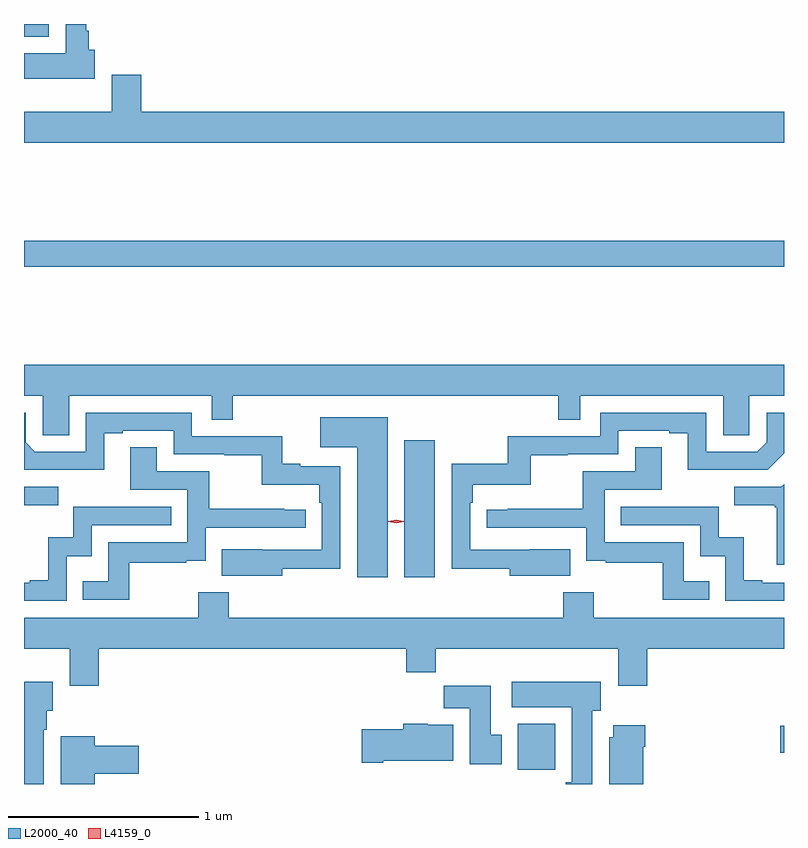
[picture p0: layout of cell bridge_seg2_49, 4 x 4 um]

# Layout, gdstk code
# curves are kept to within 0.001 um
import gdstk
lib = gdstk.Library(unit=1e-6, precision=1e-09)
def R(c, l, rs):  # rectangles x0, y0, x1, y1
    for r in rs: c.add(gdstk.rectangle(r[:2], r[2:], *l))
def P(c, l, *ps):  # polygons
    for p in ps: c.add(gdstk.Polygon(p, *l))
L2000_40 = (2000, 40)
L4159_0 = (4159, 0)

bridge_seg2_49 = lib.new_cell('bridge_seg2_49')
R(bridge_seg2_49, L2000_40, [(976.253,621.692,976.45,621.934), (977.634,621.782,977.654,621.924), (975.656,622.704,975.817,623.425), (973.654,623.084,973.834,623.181), (973.654,624.34,977.654,624.476), (973.654,625.55,973.785,625.617), (974.069,625.616,974.248,625.617)])
P(bridge_seg2_49, L2000_40, [(974.026,625.482),(973.996,625.482),(973.996,625.582),(973.981,625.582),(973.981,625.617),(973.874,625.617),(973.874,625.462),(973.654,625.462),(973.654,625.328),(974.026,625.328)],
  [(977.654,625.156),(974.27,625.156),(974.27,625.351),(974.117,625.351),(974.117,625.156),(973.654,625.156),(973.654,624.992),(977.654,624.992)],
  [(973.891,623.66),(974.643,623.66),(974.643,623.533),(974.752,623.533),(974.752,623.66),(976.465,623.66),(976.465,623.533),(976.581,623.533),(976.581,623.66),(977.333,623.66),(977.333,623.452),(977.472,623.452),(977.472,623.66),(977.654,623.66),(977.654,623.824),(973.654,623.824),(973.654,623.66),(973.752,623.66),(973.752,623.452),(973.891,623.452)],
  [(975.013,622.75),(975.318,622.75),(975.318,623.289),(975.109,623.289),(975.109,623.302),(975.014,623.302),(975.014,623.448),(974.538,623.448),(974.538,623.571),(973.98,623.571),(973.98,623.367),(973.71,623.367),(973.662,623.415),(973.662,623.571),(973.654,623.571),(973.654,623.273),(973.656,623.271),(974.077,623.27),(974.077,623.463),(974.173,623.463),(974.173,623.475),(974.442,623.475),(974.442,623.352),(974.707,623.352),(974.707,623.347),(974.904,623.347),(974.904,623.192),(975.209,623.192),(975.209,623.096),(975.222,623.096),(975.222,622.851),(974.695,622.852),(974.695,622.712),(975.013,622.712)],
  [(976.529,622.852),(976.002,622.851),(976.002,623.096),(976.016,623.096),(976.016,623.192),(976.321,623.192),(976.321,623.347),(976.517,623.347),(976.517,623.352),(976.782,623.352),(976.782,623.475),(977.051,623.475),(977.051,623.463),(977.147,623.463),(977.147,623.27),(977.568,623.271),(977.654,623.357),(977.654,623.571),(977.562,623.571),(977.562,623.415),(977.514,623.367),(977.244,623.367),(977.244,623.571),(976.686,623.571),(976.686,623.448),(976.2,623.448),(976.2,623.302),(975.906,623.302),(975.906,622.75),(976.211,622.75),(976.211,622.712),(976.529,622.712)],
  [(975.568,623.548),(975.213,623.548),(975.213,623.39),(975.407,623.39),(975.407,622.704),(975.568,622.704)],
  [(977.261,622.684),(977.127,622.684),(977.127,622.89),(976.71,622.89),(976.71,623.166),(977.011,623.166),(977.011,623.39),(976.871,623.39),(976.871,623.262),(976.594,623.262),(976.594,623.066),(976.201,623.066),(976.201,623.061),(976.089,623.061),(976.089,622.965),(976.614,622.965),(976.614,622.793),(976.717,622.793),(976.717,622.782),(977.016,622.782),(977.016,622.587),(977.261,622.587)],
  [(974.209,622.782),(974.507,622.782),(974.507,622.793),(974.61,622.793),(974.61,622.965),(975.136,622.965),(975.136,623.061),(975.023,623.061),(975.023,623.066),(974.63,623.066),(974.63,623.262),(974.353,623.262),(974.353,623.39),(974.213,623.39),(974.213,623.166),(974.514,623.166),(974.514,622.89),(974.098,622.89),(974.098,622.684),(973.963,622.684),(973.963,622.587),(974.209,622.587)],
  [(977.654,623.195),(977.64,623.181),(977.391,623.181),(977.391,623.084),(977.604,623.084),(977.604,623.073),(977.615,623.073),(977.615,622.77),(977.654,622.77)],
  [(977.654,622.677),(977.539,622.677),(977.539,622.69),(977.443,622.69),(977.443,622.915),(977.31,622.915),(977.31,623.076),(976.795,623.076),(976.795,622.98),(977.214,622.98),(977.214,622.817),(977.346,622.817),(977.346,622.581),(977.654,622.581)],
  [(973.878,622.817),(974.01,622.817),(974.01,622.98),(974.429,622.98),(974.429,623.076),(973.914,623.076),(973.914,622.915),(973.781,622.915),(973.781,622.69),(973.685,622.69),(973.685,622.677),(973.654,622.677),(973.654,622.581),(973.878,622.581)],
  [(974.048,622.328),(975.665,622.328),(975.665,622.204),(975.821,622.204),(975.821,622.328),(976.781,622.328),(976.781,622.134),(976.934,622.134),(976.934,622.328),(977.654,622.328),(977.654,622.492),(976.653,622.492),(976.653,622.627),(976.493,622.627),(976.493,622.492),(974.732,622.492),(974.732,622.627),(974.572,622.627),(974.572,622.492),(973.654,622.492),(973.654,622.328),(973.895,622.328),(973.895,622.134),(974.048,622.134)],
  [(973.759,621.902),(973.774,621.902),(973.774,622.002),(973.804,622.002),(973.804,622.156),(973.654,622.156),(973.654,621.617),(973.759,621.617)],
  [(976.645,622.002),(976.69,622.002),(976.69,622.156),(976.221,622.156),(976.221,622.022),(976.538,622.022),(976.538,621.626),(976.505,621.626),(976.505,621.617),(976.645,621.617)],
  [(976.168,621.876),(976.111,621.876),(976.111,622.135),(975.862,622.135),(975.862,622.016),(976.001,622.016),(976.001,621.72),(976.168,621.72)],
  [(975.544,621.74),(975.913,621.74),(975.913,621.928),(975.78,621.928),(975.78,621.934),(975.65,621.934),(975.65,621.906),(975.432,621.906),(975.432,621.728),(975.544,621.728)],
  [(976.912,621.812),(976.925,621.812),(976.925,621.925),(976.754,621.925),(976.754,621.864),(976.733,621.864),(976.733,621.617),(976.912,621.617)],
  [(974.026,621.671),(974.257,621.671),(974.257,621.818),(974.026,621.818),(974.026,621.868),(973.847,621.868),(973.847,621.617),(974.026,621.617)])
P(bridge_seg2_49, L4159_0, [(975.612,622.989),(975.572,622.998),(975.571,622.999),(975.572,622.999),(975.612,623.009),(975.652,622.999),(975.652,622.999),(975.652,622.998)])

lib.write_gds('bridge_seg2_49.gds')
